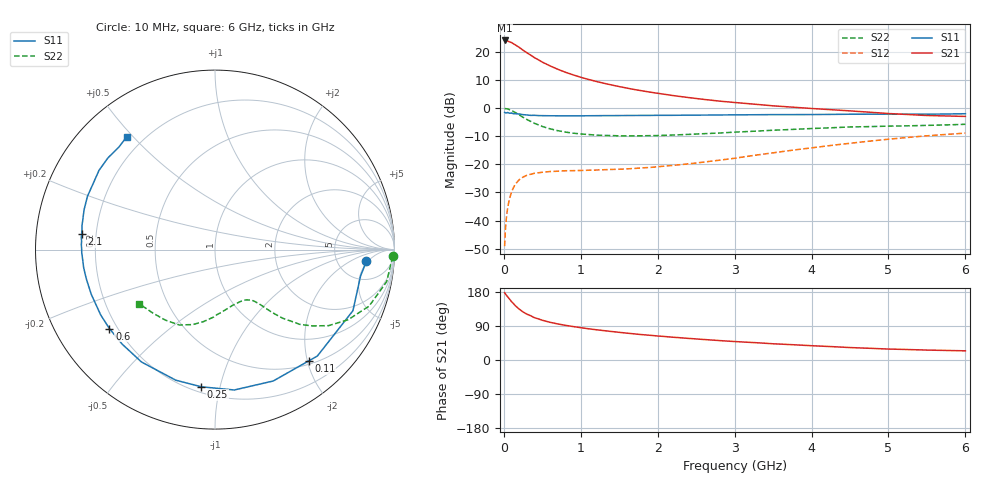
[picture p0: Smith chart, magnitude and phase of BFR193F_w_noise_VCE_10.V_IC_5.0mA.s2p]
! Infineon Technologies  Discrete & RF Semiconductors
! BFR193F
! VCE =  10. V,  IC =  5.0 mA
! Common Emitter S-Parameters:  Jan 2017
# GHz  S  MA  R  50
!  f  S11  S21  S12  S22
! GHz  MAG  ANG  MAG  ANG  MAG  ANG  MAG  ANG
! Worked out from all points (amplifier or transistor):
!   77 points, 10 MHz to 6 GHz, reference 50 ohm
!   highest |S21| = 24.1 dB at 10 MHz (marker M1)
!   |S21| within 3 dB of that: start of sweep to 226.5 MHz
!   unconditionally stable (mu >= 1): 1.866 GHz to 2.935 GHz
!   at 130 MHz: K = 0.10, MSG = 25.5 dB, |S12| = -28.0 dB
!   at 2.2 GHz: K = 1.06, MAG = 11.0 dB, |S12| = -20.3 dB
!   at 6 GHz: K = 0.76, MSG = 3.0 dB, |S12| = -8.9 dB
!   lowest NFmin = 0.81 dB at 450 MHz
!   S11 on the Smith chart (normalised r, x): 10 MHz: 10, -5; 110 MHz: 0.56, -2.02; 250 MHz: 0.24, -0.88; 600 MHz: 0.17, -0.32; 2.1 GHz: 0.14, +0.06; 6 GHz: 0.14, +0.48
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0.01  0.8465 -4.4  16.1 177.7  0.0035 84.1  0.9911 -2.2
0.02  0.8243 -10.2  15.94 174.5  0.0068 87.5  0.9841 -4.3
0.05  0.8405 -23.9  15.73 166.7  0.0169 78.2  0.973 -10.6
0.1  0.8227 -46.1  14.8 154.0  0.0323 67.4  0.9141 -20.2
0.11  0.8105 -50.0  14.48 152.0  0.0347 65.1  0.8974 -21.6
0.15  0.8007 -66.1  13.41 143.2  0.0446 58.3  0.8368 -27.9
0.2  0.7895 -82.2  12.12 134.2  0.0534 51.9  0.7616 -33.8
0.25  0.7681 -95.7  10.79 126.7  0.0595 46.0  0.6892 -38.1
0.3  0.7597 -106.7  9.717 120.9  0.0641 42.2  0.6299 -41.4
0.4  0.7483 -123.2  7.927 111.5  0.0696 36.6  0.5371 -45.4
0.5  0.7382 -134.5  6.631 104.9  0.0724 33.4  0.4739 -47.7
0.6  0.7346 -143.2  5.677 99.5  0.0747 31.8  0.4301 -49.2
0.7  0.7336 -150.2  4.95 95.2  0.0756 31.1  0.3991 -50.4
0.8  0.7305 -155.3  4.376 91.5  0.0771 31.3  0.3765 -51.7
1.1  0.7349 -166.8  3.257 82.4  0.0787 34.2  0.3404 -55.7
1.5  0.7403 -176.7  2.429 73.0  0.082 40.8  0.3228 -62.8
2.1  0.748 173.4  1.763 61.8  0.0934 53.7  0.3298 -74.9
2.6  0.7548 167.4  1.436 54.1  0.1099 63.1  0.3525 -84.5
3.1  0.7637 161.6  1.232 47.6  0.1348 69.9  0.3808 -92.7
4.1  0.7736 150.3  0.971 36.8  0.205 75.0  0.4403 -108.2
5.1  0.7842 138.2  0.792 28.4  0.2891 71.7  0.4825 -127.1
6  0.7984 127.9  0.715 24.2  0.3607 65.4  0.5182 -144.3
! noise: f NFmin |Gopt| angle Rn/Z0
0.45  0.81  0.31  100  0.1
0.9  1.01  0.45  136  0.09
1.9  1.9  0.63  -179  0.06
2.4  2.34  0.67  -168  0.11
